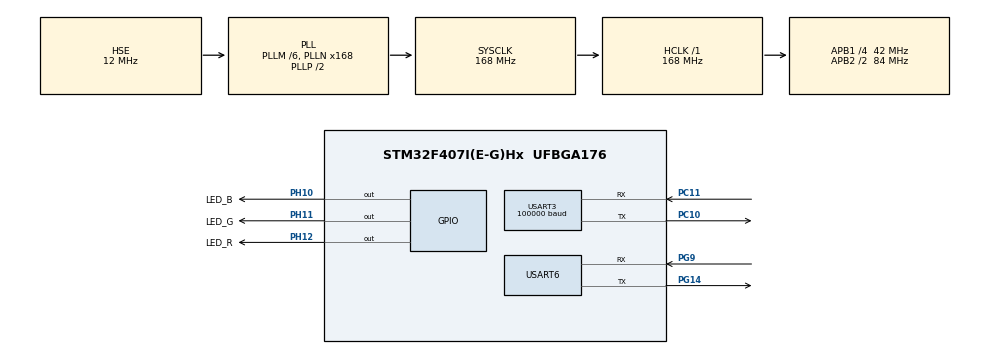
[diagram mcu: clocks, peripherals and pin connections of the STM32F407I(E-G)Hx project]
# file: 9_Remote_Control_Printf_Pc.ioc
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Dma.Request0=USART3_RX
Dma.Request1=USART6_TX
Dma.USART3_RX.0.Direction=DMA_PERIPH_TO_MEMORY
Dma.USART3_RX.0.FIFOMode=DMA_FIFOMODE_DISABLE
Dma.USART3_RX.0.Instance=DMA1_Stream1
Dma.USART3_RX.0.MemDataAlignment=DMA_MDATAALIGN_BYTE
Dma.USART3_RX.0.MemInc=DMA_MINC_ENABLE
Dma.USART3_RX.0.Mode=DMA_CIRCULAR
Dma.USART3_RX.0.PeriphDataAlignment=DMA_PDATAALIGN_BYTE
Dma.USART3_RX.0.PeriphInc=DMA_PINC_DISABLE
Dma.USART3_RX.0.Priority=DMA_PRIORITY_VERY_HIGH
Dma.USART6_TX.1.Direction=DMA_MEMORY_TO_PERIPH
Dma.USART6_TX.1.FIFOMode=DMA_FIFOMODE_DISABLE
Dma.USART6_TX.1.Instance=DMA2_Stream6
Dma.USART6_TX.1.MemDataAlignment=DMA_MDATAALIGN_BYTE
Dma.USART6_TX.1.MemInc=DMA_MINC_ENABLE
Dma.USART6_TX.1.Mode=DMA_NORMAL
Dma.USART6_TX.1.PeriphDataAlignment=DMA_PDATAALIGN_BYTE
Dma.USART6_TX.1.PeriphInc=DMA_PINC_DISABLE
Dma.USART6_TX.1.Priority=DMA_PRIORITY_VERY_HIGH
Mcu.Family=STM32F4
Mcu.Name=STM32F407I(E-G)Hx
Mcu.Package=UFBGA176
NVIC.DMA1_Stream1_IRQn=true\:0\:0\:false\:false\:true\:false\:true\:true
NVIC.DMA2_Stream6_IRQn=true\:0\:0\:false\:false\:true\:false\:true\:true
NVIC.PriorityGroup=NVIC_PRIORITYGROUP_4
NVIC.USART3_IRQn=true\:0\:0\:false\:false\:true\:true\:true\:true
NVIC.USART6_IRQn=true\:0\:0\:false\:false\:true\:true\:true\:true
PA13.Mode=Serial_Wire
PA13.Signal=SYS_JTMS-SWDIO
PA14.Mode=Serial_Wire
PA14.Signal=SYS_JTCK-SWCLK
PC10.GPIO_PuPd=GPIO_PULLUP
PC10.Mode=Asynchronous
PC10.Signal=USART3_TX
PC11.GPIO_PuPd=GPIO_PULLUP
PC11.Mode=Asynchronous
PC11.Signal=USART3_RX
PG14.GPIO_PuPd=GPIO_PULLUP
PG14.Mode=Asynchronous
PG14.Signal=USART6_TX
PG9.GPIO_PuPd=GPIO_PULLUP
PG9.Mode=Asynchronous
PG9.Signal=USART6_RX
PH0-OSC_IN.Mode=HSE-External-Oscillator
PH0-OSC_IN.Signal=RCC_OSC_IN
PH1-OSC_OUT.Mode=HSE-External-Oscillator
PH1-OSC_OUT.Signal=RCC_OSC_OUT
PH10.GPIO_Label=LED_B
PH10.GPIO_ModeDefaultOutputPP=GPIO_MODE_OUTPUT_PP
PH10.GPIO_PuPd=GPIO_PULLUP
PH10.PinState=GPIO_PIN_SET
PH10.Signal=GPIO_Output
PH11.GPIO_Label=LED_G
PH11.GPIO_PuPd=GPIO_PULLUP
PH11.PinState=GPIO_PIN_SET
PH11.Signal=GPIO_Output
PH12.GPIO_Label=LED_R
PH12.GPIO_PuPd=GPIO_PULLUP
PH12.PinState=GPIO_PIN_SET
PH12.Signal=GPIO_Output
ProjectManager.HeapSize=0x200
ProjectManager.StackSize=0x400
ProjectManager.TargetToolchain=MDK-ARM V5.32
RCC.48MHZClocksFreq_Value=84000000
RCC.AHBFreq_Value=168000000
RCC.APB1CLKDivider=RCC_HCLK_DIV4
RCC.APB1Freq_Value=42000000
RCC.APB1TimFreq_Value=84000000
RCC.APB2CLKDivider=RCC_HCLK_DIV2
RCC.APB2Freq_Value=84000000
RCC.APB2TimFreq_Value=168000000
RCC.CortexFreq_Value=168000000
RCC.HCLKFreq_Value=168000000
RCC.HSE_VALUE=12000000
RCC.HSI_VALUE=16000000
RCC.LSE_VALUE=32768
RCC.PLLM=6
RCC.PLLN=168
RCC.PLLSourceVirtual=RCC_PLLSOURCE_HSE
RCC.SYSCLKFreq_VALUE=168000000
RCC.SYSCLKSource=RCC_SYSCLKSOURCE_PLLCLK
RCC.VCOOutputFreq_Value=336000000
USART3.BaudRate=100000
USART3.Parity=PARITY_EVEN
USART3.VirtualMode=VM_ASYNC
USART6.VirtualMode=VM_ASYNC
board=custom

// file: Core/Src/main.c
/* USER CODE BEGIN Header */
/**
  ******************************************************************************
  * @file           : main.c
  * @brief          : Main program body
  ******************************************************************************
  * @attention
  *
  * <h2><center>&copy; Copyright (c) 2019 STMicroelectronics.
  * All rights reserved.</center></h2>
  *
  * This software component is licensed by ST under BSD 3-Clause license,
  * the "License"; You may not use this file except in compliance with the
  * License. You may obtain a copy of the License at:
  *                        opensource.org/licenses/BSD-3-Clause
  *
  ******************************************************************************
  */
/* USER CODE END Header */
#include "main.h"
#include "dma.h"
#include "usart.h"
#include "gpio.h"

/* USER CODE BEGIN Includes */

#include "remote_control.h"
#include "bsp_usart.h"
#include <stdio.h>
#include <stdarg.h>
#include "string.h"
/* USER CODE END Includes */

void SystemClock_Config(void);

/* USER CODE BEGIN 0 */
const RC_ctrl_t *local_rc_ctrl;

void usart_printf(const char *fmt,...)
{
    static uint8_t tx_buf[256] = {0};
    static va_list ap;
    static uint16_t len;
    va_start(ap, fmt);

    //return length of string

    len = vsprintf((char *)tx_buf, fmt, ap);

    va_end(ap);

//    usart6_tx_dma_enable(tx_buf, len);
	HAL_UART_Transmit_DMA(&huart6, tx_buf, len);
}

/* USER CODE END 0 */

int main(void)
{

  /* MCU Configuration--------------------------------------------------------*/

  /* Reset of all peripherals, Initializes the Flash interface and the Systick. */
  HAL_Init();

  /* Configure the system clock */
  SystemClock_Config();

  /* Initialize all configured peripherals */
  MX_GPIO_Init();
  MX_DMA_Init();
  MX_USART3_UART_Init();
  MX_USART6_UART_Init();
  /* USER CODE BEGIN 2 */
    remote_control_init();
    usart6_tx_dma_init();
    local_rc_ctrl = get_remote_control_point();
  /* USER CODE END 2 */

  /* Infinite loop */
  while (1)
  {

    /* USER CODE BEGIN 3 */
        usart_printf(
"**********\r\n\
ch0:%d\r\n\
ch1:%d\r\n\
ch2:%d\r\n\
ch3:%d\r\n\
ch4:%d\r\n\
s1:%d\r\n\
s2:%d\r\n\
mouse_x:%d\r\n\
mouse_y:%d\r\n\
press_l:%d\r\n\
press_r:%d\r\n\
key:%d\r\n\
**********\r\n",
            local_rc_ctrl->rc.ch[0], local_rc_ctrl->rc.ch[1], local_rc_ctrl->rc.ch[2], local_rc_ctrl->rc.ch[3], local_rc_ctrl->rc.ch[4],
            local_rc_ctrl->rc.s[0], local_rc_ctrl->rc.s[1],
            local_rc_ctrl->mouse.x, local_rc_ctrl->mouse.y,local_rc_ctrl->mouse.z, local_rc_ctrl->mouse.press_l, local_rc_ctrl->mouse.press_r,
            local_rc_ctrl->key.v);

//	HAL_Delay(2000);

//	if (__HAL_UART_GET_FLAG(&huart6, UART_FLAG_TC) != RESET)
////    if (__HAL_DMA_GET_FLAG(&hdma_usart6_tx, DMA_FLAG_TCIF6) != RESET)
//	{
//	// 再次判断传输完成,亮蓝�?
//	HAL_GPIO_WritePin(LED_B_GPIO_Port,LED_B_Pin,GPIO_PIN_SET);
//	HAL_GPIO_WritePin(LED_G_GPIO_Port,LED_G_Pin,GPIO_PIN_RESET);
//	HAL_GPIO_WritePin(LED_R_GPIO_Port,LED_R_Pin,GPIO_PIN_RESET);
//
//	// 清除传输完成标志
//    __HAL_UART_CLEAR_FLAG(&huart6, UART_FLAG_TC);
//    }

    HAL_Delay(2000);
//
//	//Reset LED to White
//	HAL_GPIO_WritePin(LED_B_GPIO_Port,LED_B_Pin,GPIO_PIN_SET);
//	HAL_GPIO_WritePin(LED_G_GPIO_Port,LED_G_Pin,GPIO_PIN_SET);
//	HAL_GPIO_WritePin(LED_R_GPIO_Port,LED_R_Pin,GPIO_PIN_SET);

//	HAL_Delay(2000);
  }
  /* USER CODE END 3 */
}

void SystemClock_Config(void)
{
  RCC_OscInitTypeDef RCC_OscInitStruct = {0};
  RCC_ClkInitTypeDef RCC_ClkInitStruct = {0};

  /** Configure the main internal regulator output voltage
  */
  __HAL_RCC_PWR_CLK_ENABLE();
  __HAL_PWR_VOLTAGESCALING_CONFIG(PWR_REGULATOR_VOLTAGE_SCALE1);

  /** Initializes the RCC Oscillators according to the specified parameters
  * in the RCC_OscInitTypeDef structure.
  */
  RCC_OscInitStruct.OscillatorType = RCC_OSCILLATORTYPE_HSE;
  RCC_OscInitStruct.HSEState = RCC_HSE_ON;
  RCC_OscInitStruct.PLL.PLLState = RCC_PLL_ON;
  RCC_OscInitStruct.PLL.PLLSource = RCC_PLLSOURCE_HSE;
  RCC_OscInitStruct.PLL.PLLM = 6;
  RCC_OscInitStruct.PLL.PLLN = 168;
  RCC_OscInitStruct.PLL.PLLP = RCC_PLLP_DIV2;
  RCC_OscInitStruct.PLL.PLLQ = 4;
  if (HAL_RCC_OscConfig(&RCC_OscInitStruct) != HAL_OK)
  {
    Error_Handler();
  }

  /** Initializes the CPU, AHB and APB buses clocks
  */
  RCC_ClkInitStruct.ClockType = RCC_CLOCKTYPE_HCLK|RCC_CLOCKTYPE_SYSCLK
                              |RCC_CLOCKTYPE_PCLK1|RCC_CLOCKTYPE_PCLK2;
  RCC_ClkInitStruct.SYSCLKSource = RCC_SYSCLKSOURCE_PLLCLK;
  RCC_ClkInitStruct.AHBCLKDivider = RCC_SYSCLK_DIV1;
  RCC_ClkInitStruct.APB1CLKDivider = RCC_HCLK_DIV4;
  RCC_ClkInitStruct.APB2CLKDivider = RCC_HCLK_DIV2;

  if (HAL_RCC_ClockConfig(&RCC_ClkInitStruct, FLASH_LATENCY_5) != HAL_OK)
  {
    Error_Handler();
  }
}

/* USER CODE BEGIN 4 */

void HAL_DMA_ErrorCallback(DMA_HandleTypeDef *hdma)
{
    if (hdma->Instance == DMA2_Stream6)
    {
        // DMA_errorOutput, lighten Red LED
	HAL_GPIO_WritePin(LED_B_GPIO_Port,LED_B_Pin,GPIO_PIN_RESET);
	HAL_GPIO_WritePin(LED_G_GPIO_Port,LED_G_Pin,GPIO_PIN_RESET);
	HAL_GPIO_WritePin(LED_R_GPIO_Port,LED_R_Pin,GPIO_PIN_SET);

    }
}

void HAL_DMA_XferCpltCallback(DMA_HandleTypeDef *hdma)
{
  if (hdma->Instance == DMA2_Stream6)
  {//lighten Green LED
    HAL_GPIO_WritePin(LED_B_GPIO_Port,LED_B_Pin,GPIO_PIN_RESET);
	HAL_GPIO_WritePin(LED_G_GPIO_Port,LED_G_Pin,GPIO_PIN_SET);
	HAL_GPIO_WritePin(LED_R_GPIO_Port,LED_R_Pin,GPIO_PIN_RESET);
  }
}

/* USER CODE END 4 */

void Error_Handler(void)
{
}
